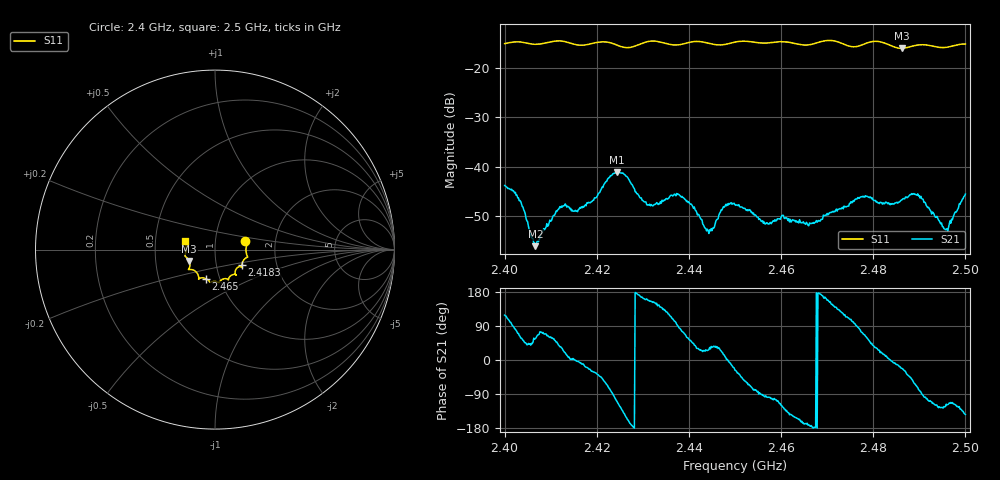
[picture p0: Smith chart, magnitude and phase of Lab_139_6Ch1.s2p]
# Hz S RI R 50
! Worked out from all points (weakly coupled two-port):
!   601 points, 2.4 GHz to 2.5 GHz, reference 50 ohm
!   highest |S21| = -41.12 dB at 2.4243 GHz (marker M1); lowest = -56.1 dB at 2.4067 GHz (marker M2)
!   lowest |S11| = -16.1 dB at 2.4862 GHz (marker M3), VSWR 1.37, Z = 37.2 - j4.79 ohm
!   |S11| at or under -10 dB: start of sweep to end of sweep
!   S12 and S22 are empty: the file has one direction only
!   S11 on the Smith chart (normalised r, x): 2.4 GHz: 1.40, +0.13; 2.4183 GHz: 1.33, -0.24; 2.465 GHz: 0.86, -0.28; 2.5 GHz: 0.71, +0.07
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2.4e9  0.1688 0.0463  -0.00306 0.00564  0 0  0 0
2.403167e9  0.1796 0.0321  0.00191 0.00409  0 0  0 0
2.406667e9  0.1723 0.00111  0.000868 0.0013  0 0  0 0
2.412167e9  0.1817 -0.0417  0.00315 0.00218  0 0  0 0
2.416667e9  0.1546 -0.0679  0.00385 -0.000679  0 0  0 0
2.418333e9  0.1497 -0.0869  0.00394 -0.00178  0 0  0 0
2.424333e9  0.1405 -0.095  -0.00271 -0.00836  0 0  0 0
2.430667e9  0.1155 -0.1404  -0.00411 0.00152  0 0  0 0
2.433333e9  0.1179 -0.141  -0.00337 0.00237  0 0  0 0
2.438167e9  0.0818 -0.1507  0.00072 0.00497  0 0  0 0
2.444167e9  0.0673 -0.1638  0.00201 0.000985  0 0  0 0
2.4475e9  0.0398 -0.1662  0.00381 0.000955  0 0  0 0
2.45e9  0.0256 -0.1799  0.00366 -0.00186  0 0  0 0
2.456667e9  -0.00653 -0.1774  -0.000197 -0.00262  0 0  0 0
2.465e9  -0.0525 -0.1613  -0.00262 -0.000501  0 0  0 0
2.466667e9  -0.0712 -0.1571  -0.00266 -0.000234  0 0  0 0
2.477167e9  -0.1234 -0.113  0.000913 0.00481  0 0  0 0
2.483333e9  -0.1411 -0.0968  0.00429 0.000282  0 0  0 0
2.486167e9  -0.1437 -0.0628  0.00425 -0.00171  0 0  0 0
2.489833e9  -0.1658 -0.0374  0.00107 -0.00492  0 0  0 0
2.495833e9  -0.1601 0.0139  -0.00103 -0.00206  0 0  0 0
2.5e9  -0.167 0.0469  -0.00425 -0.00309  0 0  0 0
